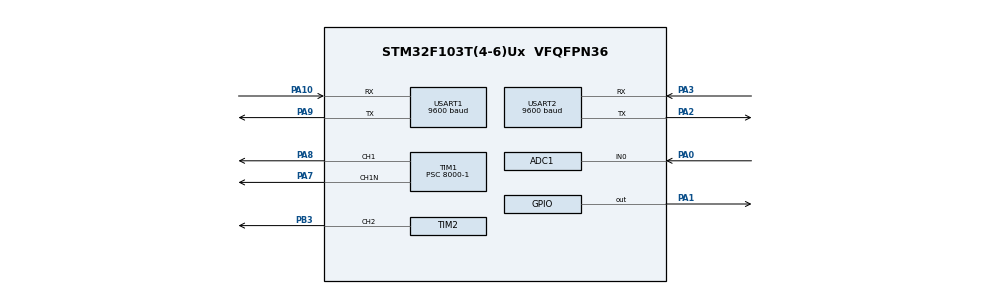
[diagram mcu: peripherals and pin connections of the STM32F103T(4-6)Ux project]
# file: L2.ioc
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ADC1.Channel-0\#ChannelRegularConversion=ADC_CHANNEL_0
ADC1.NbrOfConversionFlag=1
ADC1.Rank-0\#ChannelRegularConversion=1
ADC1.SamplingTime-0\#ChannelRegularConversion=ADC_SAMPLETIME_1CYCLE_5
ADC1.master=1
Mcu.Family=STM32F1
Mcu.Name=STM32F103T(4-6)Ux
Mcu.Package=VFQFPN36
NVIC.ADC1_2_IRQn=true\:0\:0\:false\:false\:true\:true\:true\:true
NVIC.PriorityGroup=NVIC_PRIORITYGROUP_4
NVIC.TIM1_BRK_IRQn=true\:0\:0\:false\:false\:true\:true\:true\:true
NVIC.TIM1_CC_IRQn=true\:0\:0\:false\:false\:true\:true\:true\:true
NVIC.TIM1_TRG_COM_IRQn=true\:0\:0\:false\:false\:true\:true\:true\:true
NVIC.TIM1_UP_IRQn=true\:0\:0\:false\:false\:true\:true\:true\:true
NVIC.TIM2_IRQn=true\:0\:0\:false\:false\:true\:true\:true\:true
NVIC.USART1_IRQn=true\:0\:0\:false\:false\:true\:true\:true\:true
NVIC.USART2_IRQn=true\:0\:0\:false\:false\:true\:true\:true\:true
PA0-WKUP.Signal=ADCx_IN0
PA1.PinState=GPIO_PIN_SET
PA1.Signal=GPIO_Output
PA10.Mode=Asynchronous
PA10.Signal=USART1_RX
PA2.Mode=Asynchronous
PA2.Signal=USART2_TX
PA3.Mode=Asynchronous
PA3.Signal=USART2_RX
PA7.Mode=PWM Generation1 CH1 CH1N
PA7.Signal=TIM1_CH1N
PA8.Signal=S_TIM1_CH1
PA9.Mode=Asynchronous
PA9.Signal=USART1_TX
PB3.Signal=S_TIM2_CH2
ProjectManager.HeapSize=0x200
ProjectManager.StackSize=0x400
ProjectManager.TargetToolchain=STM32CubeIDE
RCC.APB1Freq_Value=8000000
RCC.APB2Freq_Value=8000000
SH.ADCx_IN0.0=ADC1_IN0,IN0
SH.S_TIM1_CH1.0=TIM1_CH1,PWM Generation1 CH1 CH1N
SH.S_TIM2_CH2.0=TIM2_CH2,PWM Generation2 CH2
TIM1.AutoReloadPreload=TIM_AUTORELOAD_PRELOAD_ENABLE
TIM1.Channel-PWM\ Generation1\ CH1\ CH1N=TIM_CHANNEL_1
TIM1.Period=1000-1
TIM1.Prescaler=8000-1
TIM1.Pulse-PWM\ Generation1\ CH1\ CH1N=500-1
TIM2.AutoReloadPreload=TIM_AUTORELOAD_PRELOAD_ENABLE
TIM2.Channel-PWM\ Generation2\ CH2=TIM_CHANNEL_2
TIM2.Period=1000-1
TIM2.Prescaler=8000-1
TIM2.Pulse-PWM\ Generation2\ CH2=500-1
USART1.BaudRate=9600
USART1.VirtualMode=VM_ASYNC
USART2.BaudRate=9600
USART2.VirtualMode=VM_ASYNC
VP_SYS_VS_ND.Mode=No_Debug
VP_TIM1_VS_ClockSourceINT.Mode=Internal
VP_TIM2_VS_ClockSourceINT.Mode=Internal
board=custom

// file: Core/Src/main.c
/* USER CODE BEGIN Header */
/**
  ******************************************************************************
  * @file           : main.c
  * @brief          : Main program body
  ******************************************************************************
  * @attention
  *
  * Copyright (c) 2024 STMicroelectronics.
  * All rights reserved.
  *
  * This software is licensed under terms that can be found in the LICENSE file
  * in the root directory of this software component.
  * If no LICENSE file comes with this software, it is provided AS-IS.
  *
  ******************************************************************************
  */
/* USER CODE END Header */
#include "main.h"

ADC_HandleTypeDef hadc1;

TIM_HandleTypeDef htim1;
TIM_HandleTypeDef htim2;

UART_HandleTypeDef huart1;
UART_HandleTypeDef huart2;

/* USER CODE BEGIN PV */
#define UART_RX_BUFFER_SIZE 50

char uart2_rx_buffer[UART_RX_BUFFER_SIZE];
uint8_t uart2_rx_index = 0;
char uart1_tx_buffer[50];
uint8_t uart2_rx_data;
/* USER CODE END PV */

void SystemClock_Config(void);
static void MX_GPIO_Init(void);
static void MX_USART1_UART_Init(void);
static void MX_ADC1_Init(void);
static void MX_USART2_UART_Init(void);
static void MX_TIM1_Init(void);
static void MX_TIM2_Init(void);

/* USER CODE BEGIN 0 */
uint32_t read_adc_value() {
    HAL_ADC_Start(&hadc1);
    HAL_ADC_PollForConversion(&hadc1, 200);
    uint32_t value = HAL_ADC_GetValue(&hadc1);
    HAL_ADC_Stop(&hadc1);
    return value;
}
/* USER CODE END 0 */

int main(void)
{

  /* MCU Configuration--------------------------------------------------------*/

  /* Reset of all peripherals, Initializes the Flash interface and the Systick. */
  HAL_Init();

  /* Configure the system clock */
  SystemClock_Config();

  /* Initialize all configured peripherals */
  MX_GPIO_Init();
  MX_USART1_UART_Init();
  MX_ADC1_Init();
  MX_USART2_UART_Init();
  MX_TIM1_Init();
  MX_TIM2_Init();
  /* USER CODE BEGIN 2 */
  HAL_TIM_PWM_Start_IT(&htim1, TIM_CHANNEL_1);
  HAL_TIMEx_PWMN_Start_IT(&htim1, TIM_CHANNEL_1);

  HAL_TIM_PWM_Start_IT(&htim2, TIM_CHANNEL_2);
  HAL_TIMEx_PWMN_Start_IT(&htim2, TIM_CHANNEL_2);
  char text[250];
  sprintf(text, "Hello %d \r\n", 10);
  /* USER CODE END 2 */

  /* Infinite loop */
  /* USER CODE BEGIN WHILE */
  HAL_UART_Receive_IT(&huart2, &uart2_rx_data, 1);
  while (1)
  {
	  uint32_t value = read_adc_value();
	  sprintf(text, "ADC value: %d \r\n", value);
	  HAL_UART_Transmit_IT(&huart1, (uint8_t*)text, strlen(text));
	  HAL_Delay(1000);
    /* USER CODE END WHILE */

  }
}

void SystemClock_Config(void)
{
  RCC_OscInitTypeDef RCC_OscInitStruct = {0};
  RCC_ClkInitTypeDef RCC_ClkInitStruct = {0};
  RCC_PeriphCLKInitTypeDef PeriphClkInit = {0};

  /** Initializes the RCC Oscillators according to the specified parameters
  * in the RCC_OscInitTypeDef structure.
  */
  RCC_OscInitStruct.OscillatorType = RCC_OSCILLATORTYPE_HSI;
  RCC_OscInitStruct.HSIState = RCC_HSI_ON;
  RCC_OscInitStruct.HSICalibrationValue = RCC_HSICALIBRATION_DEFAULT;
  RCC_OscInitStruct.PLL.PLLState = RCC_PLL_NONE;
  if (HAL_RCC_OscConfig(&RCC_OscInitStruct) != HAL_OK)
  {
    Error_Handler();
  }

  /** Initializes the CPU, AHB and APB buses clocks
  */
  RCC_ClkInitStruct.ClockType = RCC_CLOCKTYPE_HCLK|RCC_CLOCKTYPE_SYSCLK
                              |RCC_CLOCKTYPE_PCLK1|RCC_CLOCKTYPE_PCLK2;
  RCC_ClkInitStruct.SYSCLKSource = RCC_SYSCLKSOURCE_HSI;
  RCC_ClkInitStruct.AHBCLKDivider = RCC_SYSCLK_DIV1;
  RCC_ClkInitStruct.APB1CLKDivider = RCC_HCLK_DIV1;
  RCC_ClkInitStruct.APB2CLKDivider = RCC_HCLK_DIV1;

  if (HAL_RCC_ClockConfig(&RCC_ClkInitStruct, FLASH_LATENCY_0) != HAL_OK)
  {
    Error_Handler();
  }
  PeriphClkInit.PeriphClockSelection = RCC_PERIPHCLK_ADC;
  PeriphClkInit.AdcClockSelection = RCC_ADCPCLK2_DIV2;
  if (HAL_RCCEx_PeriphCLKConfig(&PeriphClkInit) != HAL_OK)
  {
    Error_Handler();
  }
}

static void MX_ADC1_Init(void)
{

  ADC_ChannelConfTypeDef sConfig = {0};

  /** Common config
  */
  hadc1.Instance = ADC1;
  hadc1.Init.ScanConvMode = ADC_SCAN_DISABLE;
  hadc1.Init.ContinuousConvMode = DISABLE;
  hadc1.Init.DiscontinuousConvMode = DISABLE;
  hadc1.Init.ExternalTrigConv = ADC_SOFTWARE_START;
  hadc1.Init.DataAlign = ADC_DATAALIGN_RIGHT;
  hadc1.Init.NbrOfConversion = 1;
  if (HAL_ADC_Init(&hadc1) != HAL_OK)
  {
    Error_Handler();
  }

  /** Configure Regular Channel
  */
  sConfig.Channel = ADC_CHANNEL_0;
  sConfig.Rank = ADC_REGULAR_RANK_1;
  sConfig.SamplingTime = ADC_SAMPLETIME_1CYCLE_5;
  if (HAL_ADC_ConfigChannel(&hadc1, &sConfig) != HAL_OK)
  {
    Error_Handler();
  }

}

static void MX_TIM1_Init(void)
{

  TIM_ClockConfigTypeDef sClockSourceConfig = {0};
  TIM_MasterConfigTypeDef sMasterConfig = {0};
  TIM_OC_InitTypeDef sConfigOC = {0};
  TIM_BreakDeadTimeConfigTypeDef sBreakDeadTimeConfig = {0};

  htim1.Instance = TIM1;
  htim1.Init.Prescaler = 8000-1;
  htim1.Init.CounterMode = TIM_COUNTERMODE_UP;
  htim1.Init.Period = 1000-1;
  htim1.Init.ClockDivision = TIM_CLOCKDIVISION_DIV1;
  htim1.Init.RepetitionCounter = 0;
  htim1.Init.AutoReloadPreload = TIM_AUTORELOAD_PRELOAD_ENABLE;
  if (HAL_TIM_Base_Init(&htim1) != HAL_OK)
  {
    Error_Handler();
  }
  sClockSourceConfig.ClockSource = TIM_CLOCKSOURCE_INTERNAL;
  if (HAL_TIM_ConfigClockSource(&htim1, &sClockSourceConfig) != HAL_OK)
  {
    Error_Handler();
  }
  if (HAL_TIM_PWM_Init(&htim1) != HAL_OK)
  {
    Error_Handler();
  }
  sMasterConfig.MasterOutputTrigger = TIM_TRGO_RESET;
  sMasterConfig.MasterSlaveMode = TIM_MASTERSLAVEMODE_DISABLE;
  if (HAL_TIMEx_MasterConfigSynchronization(&htim1, &sMasterConfig) != HAL_OK)
  {
    Error_Handler();
  }
  sConfigOC.OCMode = TIM_OCMODE_PWM1;
  sConfigOC.Pulse = 500-1;
  sConfigOC.OCPolarity = TIM_OCPOLARITY_HIGH;
  sConfigOC.OCNPolarity = TIM_OCNPOLARITY_HIGH;
  sConfigOC.OCFastMode = TIM_OCFAST_DISABLE;
  sConfigOC.OCIdleState = TIM_OCIDLESTATE_RESET;
  sConfigOC.OCNIdleState = TIM_OCNIDLESTATE_RESET;
  if (HAL_TIM_PWM_ConfigChannel(&htim1, &sConfigOC, TIM_CHANNEL_1) != HAL_OK)
  {
    Error_Handler();
  }
  sBreakDeadTimeConfig.OffStateRunMode = TIM_OSSR_DISABLE;
  sBreakDeadTimeConfig.OffStateIDLEMode = TIM_OSSI_DISABLE;
  sBreakDeadTimeConfig.LockLevel = TIM_LOCKLEVEL_OFF;
  sBreakDeadTimeConfig.DeadTime = 0;
  sBreakDeadTimeConfig.BreakState = TIM_BREAK_DISABLE;
  sBreakDeadTimeConfig.BreakPolarity = TIM_BREAKPOLARITY_HIGH;
  sBreakDeadTimeConfig.AutomaticOutput = TIM_AUTOMATICOUTPUT_DISABLE;
  if (HAL_TIMEx_ConfigBreakDeadTime(&htim1, &sBreakDeadTimeConfig) != HAL_OK)
  {
    Error_Handler();
  }
  HAL_TIM_MspPostInit(&htim1);

}

static void MX_TIM2_Init(void)
{

  TIM_ClockConfigTypeDef sClockSourceConfig = {0};
  TIM_MasterConfigTypeDef sMasterConfig = {0};
  TIM_OC_InitTypeDef sConfigOC = {0};

  htim2.Instance = TIM2;
  htim2.Init.Prescaler = 8000-1;
  htim2.Init.CounterMode = TIM_COUNTERMODE_UP;
  htim2.Init.Period = 1000-1;
  htim2.Init.ClockDivision = TIM_CLOCKDIVISION_DIV1;
  htim2.Init.AutoReloadPreload = TIM_AUTORELOAD_PRELOAD_ENABLE;
  if (HAL_TIM_Base_Init(&htim2) != HAL_OK)
  {
    Error_Handler();
  }
  sClockSourceConfig.ClockSource = TIM_CLOCKSOURCE_INTERNAL;
  if (HAL_TIM_ConfigClockSource(&htim2, &sClockSourceConfig) != HAL_OK)
  {
    Error_Handler();
  }
  if (HAL_TIM_PWM_Init(&htim2) != HAL_OK)
  {
    Error_Handler();
  }
  sMasterConfig.MasterOutputTrigger = TIM_TRGO_RESET;
  sMasterConfig.MasterSlaveMode = TIM_MASTERSLAVEMODE_DISABLE;
  if (HAL_TIMEx_MasterConfigSynchronization(&htim2, &sMasterConfig) != HAL_OK)
  {
    Error_Handler();
  }
  sConfigOC.OCMode = TIM_OCMODE_PWM1;
  sConfigOC.Pulse = 500-1;
  sConfigOC.OCPolarity = TIM_OCPOLARITY_HIGH;
  sConfigOC.OCFastMode = TIM_OCFAST_DISABLE;
  if (HAL_TIM_PWM_ConfigChannel(&htim2, &sConfigOC, TIM_CHANNEL_2) != HAL_OK)
  {
    Error_Handler();
  }
  HAL_TIM_MspPostInit(&htim2);

}

static void MX_USART1_UART_Init(void)
{

  huart1.Instance = USART1;
  huart1.Init.BaudRate = 9600;
  huart1.Init.WordLength = UART_WORDLENGTH_8B;
  huart1.Init.StopBits = UART_STOPBITS_1;
  huart1.Init.Parity = UART_PARITY_NONE;
  huart1.Init.Mode = UART_MODE_TX_RX;
  huart1.Init.HwFlowCtl = UART_HWCONTROL_NONE;
  huart1.Init.OverSampling = UART_OVERSAMPLING_16;
  if (HAL_UART_Init(&huart1) != HAL_OK)
  {
    Error_Handler();
  }

}

static void MX_USART2_UART_Init(void)
{

  huart2.Instance = USART2;
  huart2.Init.BaudRate = 9600;
  huart2.Init.WordLength = UART_WORDLENGTH_8B;
  huart2.Init.StopBits = UART_STOPBITS_1;
  huart2.Init.Parity = UART_PARITY_NONE;
  huart2.Init.Mode = UART_MODE_TX_RX;
  huart2.Init.HwFlowCtl = UART_HWCONTROL_NONE;
  huart2.Init.OverSampling = UART_OVERSAMPLING_16;
  if (HAL_UART_Init(&huart2) != HAL_OK)
  {
    Error_Handler();
  }

}

static void MX_GPIO_Init(void)
{
  GPIO_InitTypeDef GPIO_InitStruct = {0};

  /* GPIO Ports Clock Enable */
  __HAL_RCC_GPIOA_CLK_ENABLE();
  __HAL_RCC_GPIOB_CLK_ENABLE();

  /*Configure GPIO pin Output Level */
  HAL_GPIO_WritePin(GPIOA, GPIO_PIN_1, GPIO_PIN_SET);

  /*Configure GPIO pin : PA1 */
  GPIO_InitStruct.Pin = GPIO_PIN_1;
  GPIO_InitStruct.Mode = GPIO_MODE_OUTPUT_PP;
  GPIO_InitStruct.Pull = GPIO_NOPULL;
  GPIO_InitStruct.Speed = GPIO_SPEED_FREQ_LOW;
  HAL_GPIO_Init(GPIOA, &GPIO_InitStruct);

}

/* USER CODE BEGIN 4 */
#define IS_PRINTABLE_ASCII(c) ((c) >= 32 && (c) <= 126)

void HAL_UART_RxCpltCallback(UART_HandleTypeDef *huart)
{
  if (huart->Instance == USART2) {
    if (uart2_rx_data != '\r') {
      if (IS_PRINTABLE_ASCII(uart2_rx_data)) {
    	// Add the received data to the RX buffer
        uart2_rx_buffer[uart2_rx_index++] = uart2_rx_data;

        // If the RX buffer is full, reset the index to the beginning
        if (uart2_rx_index >= UART_RX_BUFFER_SIZE - 1) {
          uart2_rx_index = 0;
        }
      }
    } else {
      uart2_rx_buffer[uart2_rx_index] = '\0';
      processCommand(uart2_rx_buffer);
      uart2_rx_index = 0;
    }

    HAL_UART_Receive_IT(&huart2, &uart2_rx_data, 1);
  }
}

void processCommand(char* command) {
    if (strcmp(command, "LED ON") == 0) {
        setLedState(GPIO_PIN_SET, "LED is ON\r\n");
    } else if (strcmp(command, "LED OFF") == 0) {
        setLedState(GPIO_PIN_RESET, "LED is OFF\r\n");
    } else if (strncmp(command, "TIMER1_PWM=", 11) == 0) {
    	changeTimer1PWM(command + 11);
    } else if (strncmp(command, "TIMER2_PWM=", 11) == 0) {
    	changeTimer2PWM(command + 11);
    } else {
        sendUnknownCommandResponse(command);
    }
}

void setLedState(uint16_t state, char* response) {
    HAL_GPIO_WritePin(GPIOA, GPIO_PIN_1, state);
    sendResponse(response);
}

void changeTimer1PWM(char* command) {
    uint32_t pwmValue;
    if (sscanf(command, "%lu", &pwmValue) == 1) {
        __HAL_TIM_SET_COMPARE(&htim1, TIM_CHANNEL_1, pwmValue);
        char response[50];
        snprintf(response, sizeof(response), "PWM configured to %lu\r\n", pwmValue);
        sendResponse(response);
    } else {
        sendResponse("Invalid PWM command\r\n");
    }
}

void changeTimer2PWM(char* command) {
	uint32_t pwmValue;
	    if (sscanf(command, "%lu", &pwmValue) == 1) {
	        __HAL_TIM_SET_COMPARE(&htim2, TIM_CHANNEL_2, pwmValue);
	        char response[50];
	        snprintf(response, sizeof(response), "PWM configured to %lu\r\n", pwmValue);
	        sendResponse(response);
	    } else {
	        sendResponse("Invalid PWM command\r\n");
	    }
}

void sendUnknownCommandResponse(char* command) {
    char response[50];
    snprintf(response, sizeof(response), "Unknown command: %s\r\n", command);
    sendResponse(response);
}

void sendResponse(char* response) {
    HAL_UART_Transmit(&huart1, (uint8_t*)response, strlen(response), HAL_MAX_DELAY);
}
/* USER CODE END 4 */

void Error_Handler(void)
{
  __disable_irq();
  while (1)
  {
  }
}
